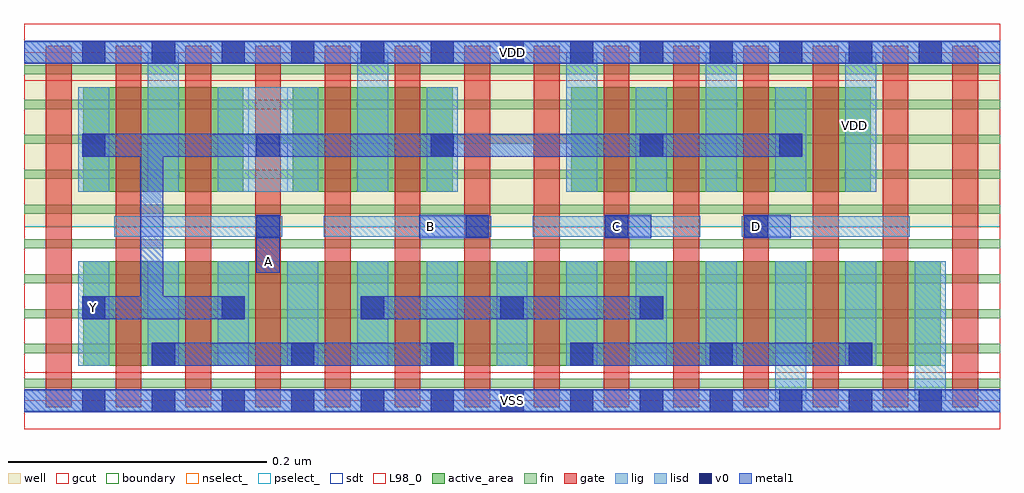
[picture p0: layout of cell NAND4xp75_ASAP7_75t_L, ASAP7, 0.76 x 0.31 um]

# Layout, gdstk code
import gdstk
lib = gdstk.Library(unit=1e-6, precision=2.5e-10)
def R(c, l, rs):  # rectangles x0, y0, x1, y1
    for r in rs: c.add(gdstk.rectangle(r[:2], r[2:], *l))
def A(c, l, x, y, w, h, nx, ny, dx, dy):  # array of equal rectangles
    R(c, l, [(x+i*dx, y+j*dy, x+i*dx+w, y+j*dy+h) for i in range(nx) for j in range(ny)])
def P(c, l, *ps):  # polygons
    for p in ps: c.add(gdstk.Polygon(p, *l))
well = (1, 0)
fin = (2, 0)
gate = (7, 0)
gcut = (10, 0)
active_area = (11, 0)
nselect_ = (12, 0)
pselect_ = (13, 0)
lig = (16, 0)
lisd = (17, 0)
v0 = (18, 0)
metal1 = (19, 0)
sdt = (88, 0)
L98_0 = (98, 0)
boundary = (100, 0)

nand4xp75_asap7_75t_l = lib.new_cell('NAND4xp75_ASAP7_75t_L')
R(nand4xp75_asap7_75t_l, well, [(0,0.135,0.756,0.27)])
A(nand4xp75_asap7_75t_l, fin, 0, 0.01, 0.756, 0.007, 1, 10, 0, 0.027)
A(nand4xp75_asap7_75t_l, gate, 0.017, -0.005, 0.02, 0.28, 14, 1, 0.054, 0)
R(nand4xp75_asap7_75t_l, gcut, [(0,-0.022,0.756,0.022), (0,0.248,0.756,0.292)])
R(nand4xp75_asap7_75t_l, active_area, [(0.046,0.027,0.71,0.108), (0.046,0.162,0.17,0.243), (0.208,0.162,0.332,0.243), (0.424,0.162,0.656,0.243)])
R(nand4xp75_asap7_75t_l, nselect_, [(0,0,0.756,0.135)])
R(nand4xp75_asap7_75t_l, pselect_, [(0,0.135,0.756,0.27)])
A(nand4xp75_asap7_75t_l, lig, 0.07, 0.127, 0.13, 0.016, 4, 1, 0.162, 0)
R(nand4xp75_asap7_75t_l, lig, [(0,-0.008,0.756,0.008), (0,0.262,0.756,0.278)])
A(nand4xp75_asap7_75t_l, lisd, 0.042, 0.027, 0.024, 0.081, 10, 1, 0.054, 0)
A(nand4xp75_asap7_75t_l, lisd, 0.096, 0.162, 0.024, 0.108, 3, 1, 0.162, 0)
R(nand4xp75_asap7_75t_l, lisd, [(0.582,0,0.606,0.108), (0.69,0,0.714,0.108), (0.636,0.027,0.66,0.108), (0.042,0.162,0.066,0.243), (0.15,0.162,0.228,0.243), (0.312,0.162,0.336,0.243), (0.474,0.162,0.498,0.243), (0.528,0.162,0.552,0.27), (0.582,0.162,0.606,0.243), (0.636,0.162,0.66,0.27)])
A(nand4xp75_asap7_75t_l, v0, 0.045, -0.009, 0.018, 0.018, 13, 2, 0.054, 0.27)
A(nand4xp75_asap7_75t_l, v0, 0.099, 0.027, 0.018, 0.018, 6, 1, 0.108, 0)
A(nand4xp75_asap7_75t_l, v0, 0.045, 0.063, 0.018, 0.018, 5, 1, 0.108, 0)
A(nand4xp75_asap7_75t_l, v0, 0.342, 0.126, 0.018, 0.018, 3, 1, 0.108, 0)
A(nand4xp75_asap7_75t_l, v0, 0.045, 0.189, 0.018, 0.018, 3, 1, 0.135, 0)
R(nand4xp75_asap7_75t_l, v0, [(0.18,0.126,0.198,0.144), (0.477,0.189,0.495,0.207), (0.585,0.189,0.603,0.207)])
R(nand4xp75_asap7_75t_l, metal1, [(0,-0.009,0.756,0.009), (0.099,0.027,0.333,0.045), (0.423,0.027,0.657,0.045), (0.261,0.063,0.495,0.081), (0.18,0.099,0.198,0.144), (0.306,0.126,0.36,0.144), (0.45,0.126,0.486,0.144), (0.558,0.126,0.594,0.144), (0,0.261,0.756,0.279)])
P(nand4xp75_asap7_75t_l, metal1, [(0.171,0.081),(0.108,0.081),(0.108,0.189),(0.603,0.189),(0.603,0.207),(0.045,0.207),(0.045,0.189),(0.09,0.189),(0.09,0.081),(0.045,0.081),(0.045,0.063),(0.171,0.063)])
A(nand4xp75_asap7_75t_l, sdt, 0.042, 0.027, 0.024, 0.081, 13, 1, 0.054, 0)
A(nand4xp75_asap7_75t_l, sdt, 0.042, 0.162, 0.024, 0.081, 6, 1, 0.054, 0)
A(nand4xp75_asap7_75t_l, sdt, 0.42, 0.162, 0.024, 0.081, 5, 1, 0.054, 0)
R(nand4xp75_asap7_75t_l, L98_0, [(0,0,0.756,0.27)])
R(nand4xp75_asap7_75t_l, boundary, [(0,0,0.756,0.27)])
nand4xp75_asap7_75t_l.add(gdstk.Label('B', (0.315,0.135), layer=19, texttype=251))
nand4xp75_asap7_75t_l.add(gdstk.Label('A', (0.189,0.108), layer=19, texttype=251))
nand4xp75_asap7_75t_l.add(gdstk.Label('C', (0.459,0.135), layer=19, texttype=251))
nand4xp75_asap7_75t_l.add(gdstk.Label('D', (0.567,0.135), layer=19, texttype=251))
nand4xp75_asap7_75t_l.add(gdstk.Label('Y', (0.054,0.072), layer=19, texttype=251))
nand4xp75_asap7_75t_l.add(gdstk.Label('VSS', (0.378,0), layer=19, texttype=251))
nand4xp75_asap7_75t_l.add(gdstk.Label('VDD', (0.378,0.27), layer=19, texttype=251))
nand4xp75_asap7_75t_l.add(gdstk.Label('VDD', (0.643,0.213), layer=1, texttype=251))
nand4xp75_asap7_75t_l.add(gdstk.Label('VSS', (0.869,0.213), layer=3, texttype=251))

lib.write_gds('NAND4xp75_ASAP7_75t_L.gds')
